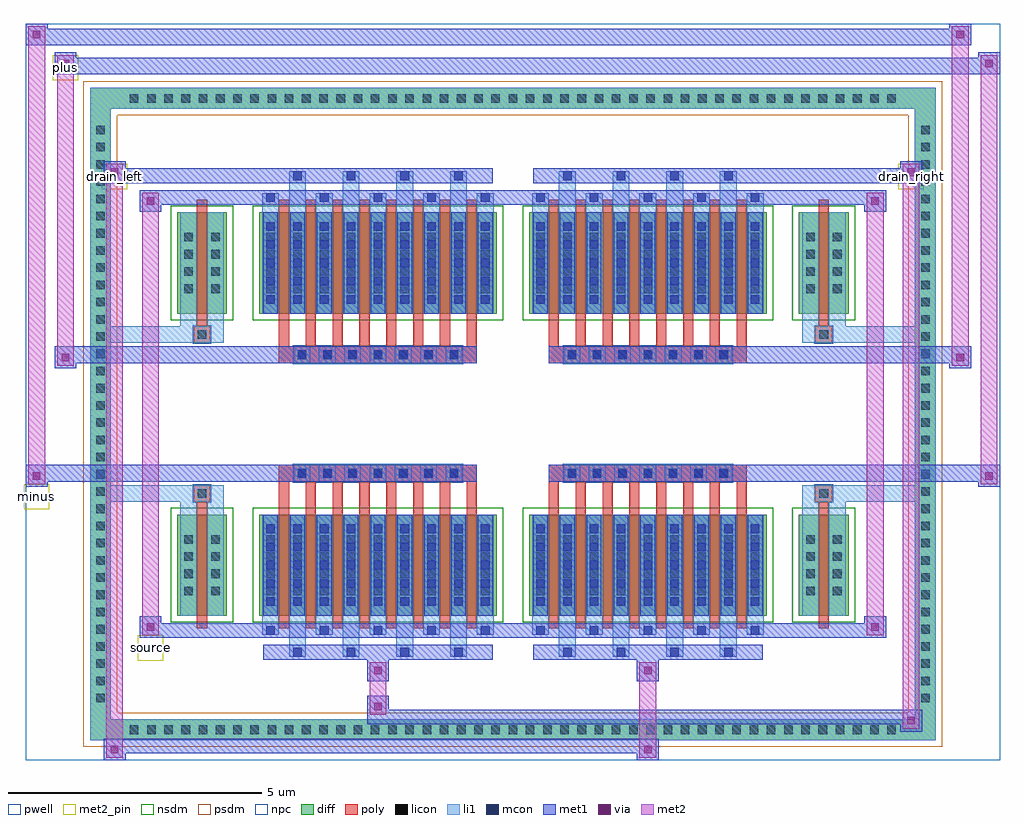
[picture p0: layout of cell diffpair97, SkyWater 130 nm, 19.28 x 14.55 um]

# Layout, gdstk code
import gdstk
lib = gdstk.Library(unit=1e-6, precision=5e-09)
def R(c, l, rs):  # rectangles x0, y0, x1, y1
    for r in rs: c.add(gdstk.rectangle(r[:2], r[2:], *l))
def A(c, l, x, y, w, h, nx, ny, dx, dy):  # array of equal rectangles
    R(c, l, [(x+i*dx, y+j*dy, x+i*dx+w, y+j*dy+h) for i in range(nx) for j in range(ny)])
def P(c, l, *ps):  # polygons
    for p in ps: c.add(gdstk.Polygon(p, *l))
pwell = (64, 44)
diff = (65, 20)
poly = (66, 20)
licon = (66, 44)
li1 = (67, 20)
mcon = (67, 44)
met1 = (68, 20)
via = (68, 44)
met2_pin = (69, 16)
met2 = (69, 20)
nsdm = (93, 44)
psdm = (94, 20)
npc = (95, 20)

diffpair97 = lib.new_cell('diffpair97')
R(diffpair97, pwell, [(-9.62,-6.84,9.62,7.71), (-6.94,-5.03,-0.01,-0.805), (0.01,-5.03,6.94,-0.805), (-6.94,0.805,-0.01,5.03), (0.01,0.805,6.94,5.03)])
A(diffpair97, diff, -7.685, -6.44, 0.41, 0.41, 45, 2, 0.34, 12.47)
A(diffpair97, diff, -8.35, -5.815, 0.41, 0.41, 1, 34, 0, 0.34)
A(diffpair97, diff, 7.94, -5.815, 0.41, 0.41, 1, 34, 0, 0.34)
R(diffpair97, diff, [(-7.685,-6.44,7.685,-6.03), (-8.35,-5.815,-7.94,5.815), (7.94,-5.815,8.35,5.815), (-6.63,-3.985,-5.65,-1.985), (-5.01,-3.985,-0.32,-1.985), (0.32,-3.985,5.01,-1.985), (5.65,-3.985,6.63,-1.985), (-6.63,1.985,-5.65,3.985), (-5.01,1.985,-0.32,3.985), (0.32,1.985,5.01,3.985), (5.65,1.985,6.63,3.985), (-7.685,6.03,7.685,6.44)])
P(diffpair97, diff, [(8.35,6.44),(-8.35,6.44),(-8.35,-6.03),(-7.94,-6.03),(-7.94,6.03),(7.94,6.03),(7.94,-6.03),(-7.94,-6.03),(-8.35,-6.03),(-8.35,-6.44),(8.35,-6.44)])
A(diffpair97, poly, -4.62, -4.235, 0.2, 2.5, 8, 2, 0.53, 5.97)
A(diffpair97, poly, 0.71, -4.235, 0.2, 2.5, 8, 2, 0.53, 5.97)
A(diffpair97, poly, -4.62, -1.735, 0.2, 0.4, 8, 2, 0.53, 3.07)
A(diffpair97, poly, 0.71, -1.735, 0.2, 0.4, 8, 2, 0.53, 3.07)
A(diffpair97, poly, -4.33, -1.335, 0.33, 0.33, 7, 2, 0.5, 2.34)
A(diffpair97, poly, 1, -1.335, 0.33, 0.33, 7, 2, 0.5, 2.34)
R(diffpair97, poly, [(-6.24,-4.235,-6.04,-1.735), (6.04,-4.235,6.24,-1.735), (-6.305,-1.735,-5.975,-1.405), (-6.305,-1.735,-5.975,-1.405), (5.975,-1.735,6.305,-1.405), (5.975,-1.735,6.305,-1.405), (-4.62,-1.335,-0.71,-1.005), (0.71,-1.335,4.62,-1.005), (-4.62,1.005,-0.71,1.335), (0.71,1.005,4.62,1.335), (-6.305,1.405,-5.975,1.735), (-6.305,1.405,-5.975,1.735), (5.975,1.405,6.305,1.735), (5.975,1.405,6.305,1.735), (-6.24,1.735,-6.04,4.235), (6.04,1.735,6.24,4.235)])
A(diffpair97, licon, -7.565, -6.32, 0.17, 0.17, 45, 2, 0.34, 12.47)
A(diffpair97, licon, -8.23, -5.695, 0.17, 0.17, 1, 34, 0, 0.34)
A(diffpair97, licon, 8.06, -5.695, 0.17, 0.17, 1, 34, 0, 0.34)
A(diffpair97, licon, -6.49, -3.58, 0.17, 0.17, 1, 4, 0, 0.34)
A(diffpair97, licon, -5.96, -3.58, 0.17, 0.17, 1, 4, 0, 0.34)
A(diffpair97, licon, -4.87, -3.58, 0.17, 0.17, 9, 4, 0.53, 0.34)
A(diffpair97, licon, 0.46, -3.58, 0.17, 0.17, 9, 4, 0.53, 0.34)
A(diffpair97, licon, 5.79, -3.58, 0.17, 0.17, 1, 4, 0, 0.34)
A(diffpair97, licon, 6.32, -3.58, 0.17, 0.17, 1, 4, 0, 0.34)
A(diffpair97, licon, -4.25, -1.255, 0.17, 0.17, 7, 2, 0.5, 2.34)
A(diffpair97, licon, 1.08, -1.255, 0.17, 0.17, 7, 2, 0.5, 2.34)
A(diffpair97, licon, -6.49, 2.39, 0.17, 0.17, 1, 4, 0, 0.34)
A(diffpair97, licon, -5.96, 2.39, 0.17, 0.17, 1, 4, 0, 0.34)
A(diffpair97, licon, -4.87, 2.39, 0.17, 0.17, 9, 4, 0.53, 0.34)
A(diffpair97, licon, 0.46, 2.39, 0.17, 0.17, 9, 4, 0.53, 0.34)
A(diffpair97, licon, 5.79, 2.39, 0.17, 0.17, 1, 4, 0, 0.34)
A(diffpair97, licon, 6.32, 2.39, 0.17, 0.17, 1, 4, 0, 0.34)
R(diffpair97, licon, [(-6.225,-1.655,-6.055,-1.485), (6.055,-1.655,6.225,-1.485), (-6.225,1.485,-6.055,1.655), (6.055,1.485,6.225,1.655)])
A(diffpair97, li1, -7.645, -6.4, 0.33, 0.33, 45, 2, 0.34, 12.47)
A(diffpair97, li1, -8.31, -5.775, 0.33, 0.33, 1, 34, 0, 0.34)
A(diffpair97, li1, 7.98, -5.775, 0.33, 0.33, 1, 34, 0, 0.34)
A(diffpair97, li1, -4.42, -4.79, 0.33, 0.805, 4, 2, 1.06, 8.775)
A(diffpair97, li1, -4.34, -4.79, 0.17, 0.17, 4, 2, 1.06, 9.41)
A(diffpair97, li1, 0.91, -4.79, 0.33, 0.805, 4, 2, 1.06, 8.775)
A(diffpair97, li1, 0.99, -4.79, 0.17, 0.17, 4, 2, 1.06, 9.41)
A(diffpair97, li1, -4.95, -4.36, 0.33, 0.375, 5, 2, 1.06, 8.345)
A(diffpair97, li1, -4.87, -4.36, 0.17, 0.17, 5, 2, 1.06, 8.55)
A(diffpair97, li1, 0.38, -4.36, 0.33, 0.375, 5, 2, 1.06, 8.345)
A(diffpair97, li1, 0.46, -4.36, 0.17, 0.17, 5, 2, 1.06, 8.55)
A(diffpair97, li1, -4.95, -3.985, 0.33, 2, 9, 2, 0.53, 5.97)
A(diffpair97, li1, 0.38, -3.985, 0.33, 2, 9, 2, 0.53, 5.97)
A(diffpair97, li1, -4.87, -3.79, 0.17, 0.17, 9, 5, 0.53, 0.36)
A(diffpair97, li1, -4.87, -3.79, 0.17, 1.61, 9, 2, 0.53, 5.97)
A(diffpair97, li1, 0.46, -3.79, 0.17, 0.17, 9, 5, 0.53, 0.36)
A(diffpair97, li1, 0.46, -3.79, 0.17, 1.61, 9, 2, 0.53, 5.97)
A(diffpair97, li1, -6.57, -3.66, 0.33, 0.33, 1, 4, 0, 0.34)
A(diffpair97, li1, -6.04, -3.66, 0.33, 0.33, 1, 4, 0, 0.34)
A(diffpair97, li1, -4.95, -3.66, 0.33, 0.33, 9, 4, 0.53, 0.34)
A(diffpair97, li1, 0.38, -3.66, 0.33, 0.33, 9, 4, 0.53, 0.34)
A(diffpair97, li1, 5.71, -3.66, 0.33, 0.33, 1, 4, 0, 0.34)
A(diffpair97, li1, 6.24, -3.66, 0.33, 0.33, 1, 4, 0, 0.34)
A(diffpair97, li1, -4.33, -1.335, 0.33, 0.33, 7, 2, 0.5, 2.34)
A(diffpair97, li1, 1, -1.335, 0.33, 0.33, 7, 2, 0.5, 2.34)
A(diffpair97, li1, -4.87, 2.18, 0.17, 0.17, 9, 5, 0.53, 0.36)
A(diffpair97, li1, 0.46, 2.18, 0.17, 0.17, 9, 5, 0.53, 0.36)
A(diffpair97, li1, -6.57, 2.31, 0.33, 0.33, 1, 4, 0, 0.34)
A(diffpair97, li1, -6.04, 2.31, 0.33, 0.33, 1, 4, 0, 0.34)
A(diffpair97, li1, -4.95, 2.31, 0.33, 0.33, 9, 4, 0.53, 0.34)
A(diffpair97, li1, 0.38, 2.31, 0.33, 0.33, 9, 4, 0.53, 0.34)
A(diffpair97, li1, 5.71, 2.31, 0.33, 0.33, 1, 4, 0, 0.34)
A(diffpair97, li1, 6.24, 2.31, 0.33, 0.33, 1, 4, 0, 0.34)
R(diffpair97, li1, [(-8.35,-6.44,-7.94,-6.03), (-8.35,-6.44,-7.94,-6.03), (-7.94,-6.44,7.94,-6.03), (7.94,-6.44,8.35,-6.03), (7.94,-6.44,8.35,-6.03), (-8.35,-6.03,-7.94,6.03), (7.94,-6.03,8.35,6.03), (-6.57,-3.985,-6.24,-1.985), (-6.04,-3.985,-5.71,-1.985), (5.71,-3.985,6.04,-1.985), (6.24,-3.985,6.57,-1.985), (-6.57,-1.985,-6.24,-1.405), (-6.04,-1.985,-5.71,-1.405), (5.71,-1.985,6.04,-1.405), (6.24,-1.985,6.57,-1.405), (-8.35,-1.735,-6.305,-1.405), (-6.57,-1.735,-6.305,-1.405), (-6.305,-1.735,-5.975,-1.405), (-5.975,-1.735,-5.71,-1.405), (5.71,-1.735,5.975,-1.405), (5.975,-1.735,6.305,-1.405), (5.975,-1.735,8.35,-1.405), (6.305,-1.735,6.57,-1.405), (-8.35,1.405,-6.305,1.735), (-6.57,1.405,-6.305,1.735), (-6.57,1.405,-6.24,1.985), (-6.305,1.405,-5.975,1.735), (-6.04,1.405,-5.71,1.985), (-5.975,1.405,-5.71,1.735), (5.71,1.405,5.975,1.735), (5.71,1.405,6.04,1.985), (5.975,1.405,6.305,1.735), (5.975,1.405,8.35,1.735), (6.24,1.405,6.57,1.985), (6.305,1.405,6.57,1.735), (-6.57,1.985,-6.24,3.985), (-6.04,1.985,-5.71,3.985), (5.71,1.985,6.04,3.985), (6.24,1.985,6.57,3.985), (-8.35,6.03,-7.94,6.44), (-8.35,6.03,-7.94,6.44), (-7.94,6.03,7.94,6.44), (7.94,6.03,8.35,6.44), (7.94,6.03,8.35,6.44)])
A(diffpair97, mcon, -4.34, -4.79, 0.17, 0.17, 4, 2, 1.06, 9.41)
A(diffpair97, mcon, 0.99, -4.79, 0.17, 0.17, 4, 2, 1.06, 9.41)
A(diffpair97, mcon, -4.87, -4.36, 0.17, 0.17, 5, 2, 1.06, 8.55)
A(diffpair97, mcon, 0.46, -4.36, 0.17, 0.17, 5, 2, 1.06, 8.55)
A(diffpair97, mcon, -4.87, -3.79, 0.17, 0.17, 9, 5, 0.53, 0.36)
A(diffpair97, mcon, 0.46, -3.79, 0.17, 0.17, 9, 5, 0.53, 0.36)
A(diffpair97, mcon, -4.25, -1.255, 0.17, 0.17, 7, 2, 0.5, 2.34)
A(diffpair97, mcon, 1.08, -1.255, 0.17, 0.17, 7, 2, 0.5, 2.34)
A(diffpair97, mcon, -4.87, 2.18, 0.17, 0.17, 9, 5, 0.53, 0.36)
A(diffpair97, mcon, 0.46, 2.18, 0.17, 0.17, 9, 5, 0.53, 0.36)
A(diffpair97, met1, -4.4, -4.85, 0.29, 0.29, 4, 2, 1.06, 9.41)
A(diffpair97, met1, 0.93, -4.85, 0.29, 0.29, 4, 2, 1.06, 9.41)
A(diffpair97, met1, -4.93, -4.42, 0.29, 0.29, 5, 2, 1.06, 8.55)
A(diffpair97, met1, 0.4, -4.42, 0.29, 0.29, 5, 2, 1.06, 8.55)
A(diffpair97, met1, -4.93, -3.985, 0.29, 2, 9, 2, 0.53, 5.97)
A(diffpair97, met1, 0.4, -3.985, 0.29, 2, 9, 2, 0.53, 5.97)
A(diffpair97, met1, -4.93, -3.85, 0.29, 0.29, 9, 5, 0.53, 0.36)
A(diffpair97, met1, 0.4, -3.85, 0.29, 0.29, 9, 5, 0.53, 0.36)
A(diffpair97, met1, -4.31, -1.315, 0.29, 0.29, 7, 2, 0.5, 2.34)
A(diffpair97, met1, 1.02, -1.315, 0.29, 0.29, 7, 2, 0.5, 2.34)
A(diffpair97, met1, -4.93, 2.12, 0.29, 0.29, 9, 5, 0.53, 0.36)
A(diffpair97, met1, 0.4, 2.12, 0.29, 0.29, 9, 5, 0.53, 0.36)
R(diffpair97, met1, [(-8.08,-6.84,-7.65,-6.41), (2.45,-6.84,2.88,-6.41), (-8.08,-6.7,2.88,-6.41), (7.65,-6.27,8.08,-5.84), (-2.88,-6.13,8.08,-5.84), (-2.88,-5.99,-2.45,-5.56), (-2.88,-5.28,-2.45,-4.85), (2.45,-5.28,2.88,-4.85), (-4.93,-4.85,-0.4,-4.56), (0.4,-4.85,4.93,-4.56), (-7.37,-4.42,-6.94,-3.99), (-7.37,-4.42,-4.93,-4.13), (-4.93,-4.42,-0.4,-4.13), (-0.4,-4.42,0.4,-4.13), (0.4,-4.42,4.93,-4.13), (4.93,-4.42,7.37,-4.13), (6.94,-4.42,7.37,-3.99), (-9.62,-1.435,-9.19,-1.005), (9.19,-1.435,9.62,-1.005), (-9.62,-1.335,-0.71,-1.005), (-4.62,-1.335,-0.71,-1.005), (0.71,-1.335,4.62,-1.005), (0.71,-1.335,9.62,-1.005), (-9.05,0.905,-8.62,1.335), (8.62,0.905,9.05,1.335), (-9.05,1.005,-4.62,1.335), (-4.62,1.005,-0.71,1.335), (0.71,1.005,4.62,1.335), (4.62,1.005,9.05,1.335), (-7.37,3.99,-6.94,4.42), (6.94,3.99,7.37,4.42), (-7.37,4.13,-4.93,4.42), (-4.93,4.13,-0.4,4.42), (-0.4,4.13,0.4,4.42), (0.4,4.13,4.93,4.42), (4.93,4.13,7.37,4.42), (-8.08,4.56,-7.65,4.99), (-8.08,4.56,-4.93,4.85), (-4.93,4.56,-0.4,4.85), (0.4,4.56,4.93,4.85), (4.93,4.56,8.08,4.85), (7.65,4.56,8.08,4.99), (-9.05,6.71,-8.62,7.14), (-9.05,6.71,-6.94,7.04), (-6.94,6.71,6.94,7.04), (6.94,6.71,9.62,7.04), (9.19,6.71,9.62,7.14), (-9.62,7.28,-9.19,7.71), (-9.62,7.28,-6.94,7.61), (-6.94,7.28,6.94,7.61), (6.94,7.28,9.05,7.61), (8.62,7.28,9.05,7.71)])
R(diffpair97, via, [(-7.94,-6.7,-7.79,-6.55), (2.59,-6.7,2.74,-6.55), (7.79,-6.13,7.94,-5.98), (-2.74,-5.85,-2.59,-5.7), (-2.74,-5.14,-2.59,-4.99), (2.59,-5.14,2.74,-4.99), (-7.23,-4.28,-7.08,-4.13), (7.08,-4.28,7.23,-4.13), (-9.48,-1.295,-9.33,-1.145), (9.33,-1.295,9.48,-1.145), (-8.91,1.045,-8.76,1.195), (8.76,1.045,8.91,1.195), (-7.23,4.13,-7.08,4.28), (7.08,4.13,7.23,4.28), (-7.94,4.7,-7.79,4.85), (7.79,4.7,7.94,4.85), (-8.91,6.85,-8.76,7), (9.33,6.85,9.48,7), (-9.48,7.42,-9.33,7.57), (8.76,7.42,8.91,7.57)])
R(diffpair97, met2_pin, [(-7.405,-4.87,-6.905,-4.37), (-9.655,-1.885,-9.155,-1.385), (-8.115,4.44,-7.615,4.94), (7.615,4.44,8.115,4.94), (-9.085,6.59,-8.585,7.09)])
R(diffpair97, met2, [(-8.03,-6.79,-7.7,-6.46), (-8.03,-6.79,-7.7,4.94), (2.5,-6.79,2.83,-6.46), (2.5,-6.46,2.83,-5.23), (7.7,-6.22,8.03,-5.89), (7.7,-6.22,8.03,4.94), (-2.83,-5.94,-2.5,-5.61), (-2.83,-5.61,-2.5,-5.23), (-2.83,-5.23,-2.5,-4.9), (2.5,-5.23,2.83,-4.9), (-7.32,-4.37,-6.99,-4.04), (-7.32,-4.37,-6.99,4.37), (6.99,-4.37,7.32,-4.04), (6.99,-4.37,7.32,4.37), (-9.57,-1.385,-9.24,-1.055), (-9.57,-1.385,-9.24,7.66), (9.24,-1.385,9.57,-1.055), (9.24,-1.385,9.57,7.09), (-9,0.955,-8.67,1.285), (-9,0.955,-8.67,7.09), (8.67,0.955,9,1.285), (8.67,0.955,9,7.66), (-7.32,4.04,-6.99,4.37), (6.99,4.04,7.32,4.37), (-8.03,4.61,-7.7,4.94), (7.7,4.61,8.03,4.94), (-9,6.76,-8.67,7.09), (9.24,6.76,9.57,7.09), (-9.57,7.33,-9.24,7.66), (8.67,7.33,9,7.66)])
P(diffpair97, met2, [(9.57,-1.385),(9.57,-1.385),(9.57,-1.055),(9.57,-1.055)],
  [(9.57,6.76),(9.57,6.76),(9.57,7.09),(9.57,7.09)],
  [(-9.24,-1.385),(-9.24,-1.385),(-9.24,-1.055),(-9.24,-1.055)],
  [(-9.24,7.33),(-9.24,7.33),(-9.24,7.66),(-9.24,7.66)],
  [(9,0.955),(9,0.955),(9,1.285),(9,1.285)],
  [(9,7.33),(9,7.33),(9,7.66),(9,7.66)],
  [(-8.67,0.955),(-8.67,0.955),(-8.67,1.285),(-8.67,1.285)],
  [(-8.67,6.76),(-8.67,6.76),(-8.67,7.09),(-8.67,7.09)],
  [(-7.7,-6.79),(-7.7,-6.79),(-7.7,-6.46),(-7.7,-6.46)],
  [(-7.7,4.61),(-7.7,4.61),(-7.7,4.94),(-7.7,4.94)],
  [(8.03,-6.22),(8.03,-6.22),(8.03,-5.89),(8.03,-5.89)],
  [(8.03,4.61),(8.03,4.61),(8.03,4.94),(8.03,4.94)],
  [(-6.99,-4.37),(-6.99,-4.37),(-6.99,-4.04),(-6.99,-4.04)],
  [(-6.99,4.04),(-6.99,4.04),(-6.99,4.37),(-6.99,4.37)],
  [(7.32,-4.37),(7.32,-4.37),(7.32,-4.04),(7.32,-4.04)],
  [(7.32,4.04),(7.32,4.04),(7.32,4.37),(7.32,4.37)])
R(diffpair97, nsdm, [(-6.76,-4.115,-5.52,-1.855), (-5.14,-4.115,-0.19,-1.855), (0.19,-4.115,5.14,-1.855), (5.52,-4.115,6.76,-1.855), (-6.76,1.855,-5.52,4.115), (-5.14,1.855,-0.19,4.115), (0.19,1.855,5.14,4.115), (5.52,1.855,6.76,4.115)])
P(diffpair97, psdm, [(8.48,6.57),(-8.48,6.57),(-8.48,-5.9),(-7.81,-5.9),(-7.81,5.9),(7.81,5.9),(7.81,-5.9),(-7.81,-5.9),(-8.48,-5.9),(-8.48,-6.57),(8.48,-6.57)])
A(diffpair97, npc, -4.35, -1.355, 0.37, 0.37, 7, 2, 0.5, 2.34)
A(diffpair97, npc, 0.98, -1.355, 0.37, 0.37, 7, 2, 0.5, 2.34)
R(diffpair97, npc, [(-6.325,-1.755,-5.955,-1.385), (5.955,-1.755,6.325,-1.385), (-4.35,-1.355,-3.48,-0.985), (-4.35,-1.355,-3.48,-0.985), (-3.85,-1.355,-2.98,-0.985), (-3.85,-1.355,-2.98,-0.985), (-3.35,-1.355,-2.48,-0.985), (-3.35,-1.355,-2.48,-0.985), (-2.85,-1.355,-1.98,-0.985), (-2.85,-1.355,-1.98,-0.985), (-2.35,-1.355,-1.48,-0.985), (-2.35,-1.355,-1.48,-0.985), (-1.85,-1.355,-0.98,-0.985), (-1.85,-1.355,-0.98,-0.985), (0.98,-1.355,1.85,-0.985), (0.98,-1.355,1.85,-0.985), (1.48,-1.355,2.35,-0.985), (1.48,-1.355,2.35,-0.985), (1.98,-1.355,2.85,-0.985), (1.98,-1.355,2.85,-0.985), (2.48,-1.355,3.35,-0.985), (2.48,-1.355,3.35,-0.985), (2.98,-1.355,3.85,-0.985), (2.98,-1.355,3.85,-0.985), (3.48,-1.355,4.35,-0.985), (3.48,-1.355,4.35,-0.985), (-4.35,0.985,-3.48,1.355), (-4.35,0.985,-3.48,1.355), (-3.85,0.985,-2.98,1.355), (-3.85,0.985,-2.98,1.355), (-3.35,0.985,-2.48,1.355), (-3.35,0.985,-2.48,1.355), (-2.85,0.985,-1.98,1.355), (-2.85,0.985,-1.98,1.355), (-2.35,0.985,-1.48,1.355), (-2.35,0.985,-1.48,1.355), (-1.85,0.985,-0.98,1.355), (-1.85,0.985,-0.98,1.355), (0.98,0.985,1.85,1.355), (0.98,0.985,1.85,1.355), (1.48,0.985,2.35,1.355), (1.48,0.985,2.35,1.355), (1.98,0.985,2.85,1.355), (1.98,0.985,2.85,1.355), (2.48,0.985,3.35,1.355), (2.48,0.985,3.35,1.355), (2.98,0.985,3.85,1.355), (2.98,0.985,3.85,1.355), (3.48,0.985,4.35,1.355), (3.48,0.985,4.35,1.355), (-6.325,1.385,-5.955,1.755), (5.955,1.385,6.325,1.755)])
diffpair97.add(gdstk.Label('minus', (-9.405,-1.635), layer=69, texttype=5))
diffpair97.add(gdstk.Label('drain_right', (7.865,4.69), layer=69, texttype=5))
diffpair97.add(gdstk.Label('drain_left', (-7.865,4.69), layer=69, texttype=5))
diffpair97.add(gdstk.Label('source', (-7.155,-4.62), layer=69, texttype=5))
diffpair97.add(gdstk.Label('plus', (-8.835,6.84), layer=69, texttype=5))

lib.write_gds('diffpair97.gds')
